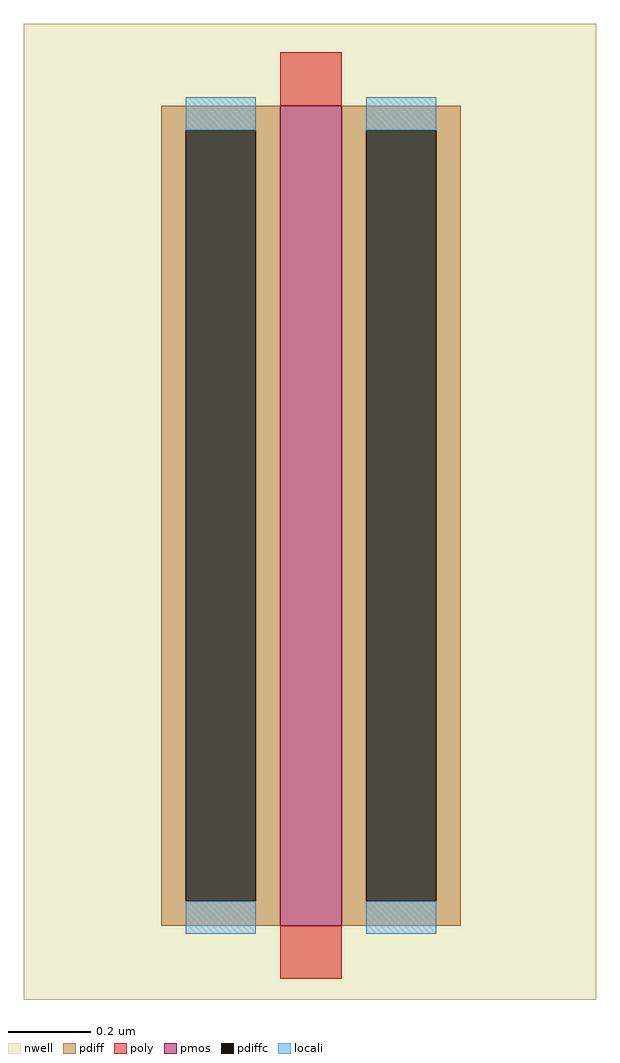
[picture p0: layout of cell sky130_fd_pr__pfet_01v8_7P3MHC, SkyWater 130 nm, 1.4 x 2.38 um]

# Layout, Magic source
magic
tech sky130A
magscale 1 2
<< nwell >>
rect -141 -200 138 276
<< pmos >>
rect -16 -164 14 236
<< pdiff >>
rect -74 224 -16 236
rect -74 -152 -62 224
rect -28 -152 -16 224
rect -74 -164 -16 -152
rect 14 224 72 236
rect 14 -152 26 224
rect 60 -152 72 224
rect 14 -164 72 -152
<< pdiffc >>
rect -62 -152 -28 224
rect 26 -152 60 224
<< poly >>
rect -16 236 14 262
rect -16 -190 14 -164
<< locali >>
rect -62 224 -28 240
rect -62 -168 -28 -152
rect 26 224 60 240
rect 26 -168 60 -152
<< properties >>
string FIXED_BBOX -158 -331 158 331
string gencell sky130_fd_pr__pfet_01v8
string library sky130
string parameters w 2.0 l 0.15 m 1 nf 1 diffcov 100 polycov 100 guard 1 glc 0 grc 0 gtc 1 gbc 0 tbcov 100 rlcov 100 topc 0 botc 1 poverlap 0 doverlap 1 lmin 0.15 wmin 0.42 compatible {sky130_fd_pr__pfet_01v8  sky130_fd_pr__pfet_01v8_lvt sky130_fd_pr__pfet_01v8_hvt  sky130_fd_pr__pfet_g5v0d10v5} full_metal 0 viasrc 100 viadrn 100 viagate 100 viagb 0 viagr 0 viagl 0 viagt 0
<< end >>
